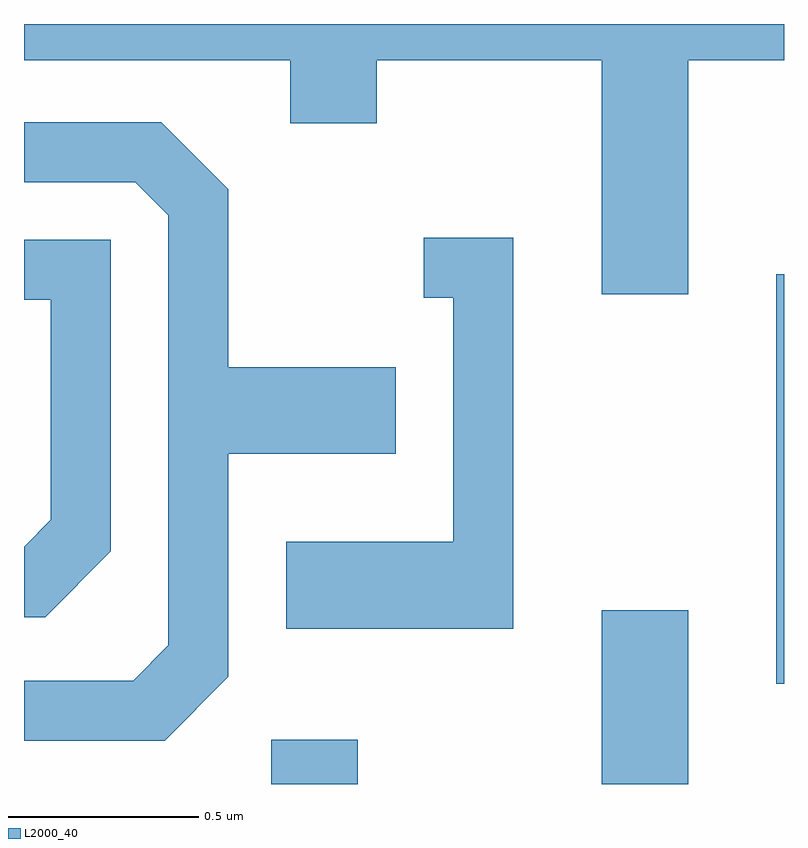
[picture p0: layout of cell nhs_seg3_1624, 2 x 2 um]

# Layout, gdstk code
import gdstk
lib = gdstk.Library(unit=1e-6, precision=1e-09)
def R(c, l, rs):  # rectangles x0, y0, x1, y1
    for r in rs: c.add(gdstk.rectangle(r[:2], r[2:], *l))
def P(c, l, *ps):  # polygons
    for p in ps: c.add(gdstk.Polygon(p, *l))
L2000_40 = (2000, 40)

nhs_seg3_1624 = lib.new_cell('nhs_seg3_1624')
R(nhs_seg3_1624, L2000_40, [(197.261,1232.892,197.489,1233.009), (198.131,1232.892,198.359,1233.349), (198.591,1233.156,198.611,1234.234)])
P(nhs_seg3_1624, L2000_40, [(198.359,1234.796),(198.611,1234.796),(198.611,1234.892),(196.611,1234.892),(196.611,1234.796),(197.311,1234.796),(197.311,1234.631),(197.539,1234.631),(197.539,1234.796),(198.131,1234.796),(198.131,1234.181),(198.359,1234.181)],
  [(197.149,1233.174),(197.149,1233.761),(197.589,1233.761),(197.589,1233.989),(197.149,1233.989),(197.149,1234.457),(196.972,1234.634),(196.611,1234.634),(196.611,1234.476),(196.904,1234.476),(196.991,1234.389),(196.991,1233.257),(196.899,1233.164),(196.611,1233.164),(196.611,1233.006),(196.982,1233.006)],
  [(197.899,1234.329),(197.663,1234.329),(197.663,1234.171),(197.741,1234.171),(197.741,1233.529),(197.301,1233.529),(197.301,1233.301),(197.899,1233.301)],
  [(196.839,1233.504),(196.839,1234.324),(196.611,1234.324),(196.611,1234.166),(196.681,1234.166),(196.681,1233.587),(196.611,1233.516),(196.611,1233.331),(196.667,1233.331)])

lib.write_gds('nhs_seg3_1624.gds')
